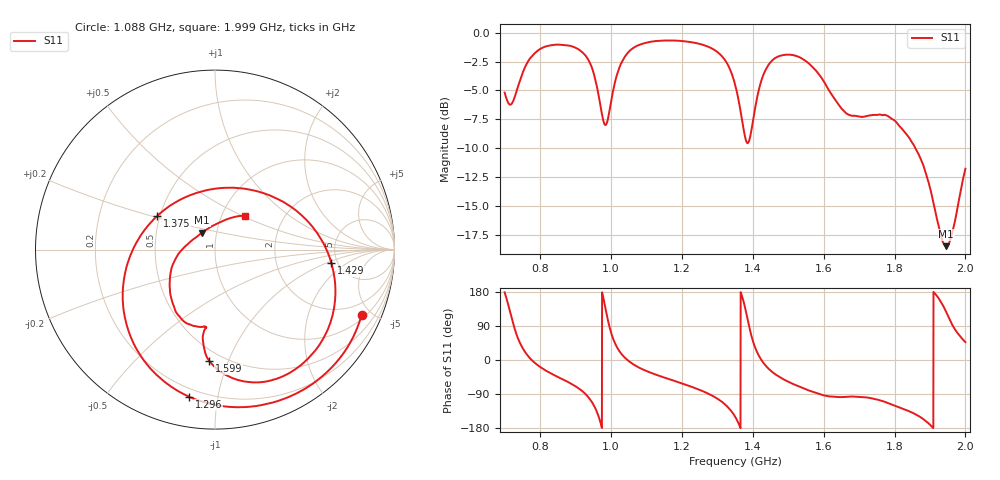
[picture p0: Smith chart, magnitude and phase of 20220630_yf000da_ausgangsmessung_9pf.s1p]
!Keysight Technologies,P9371A,MY57212015,A.15.65.19
!Date: Friday, July 01, 2022 14:54:25
!Correction: S11(C  1-Port  )
!S1P File: Measurement: S11:
# Hz S  dB  R 50
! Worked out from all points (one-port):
!   2601 points, 700 MHz to 2 GHz, reference 50 ohm
!   lowest |S11| = -18.5 dB at 1.946 GHz (marker M1), VSWR 1.27, Z = 42.6 + j8.16 ohm
!   |S11| at or under -10 dB: 1.859 GHz to end of sweep
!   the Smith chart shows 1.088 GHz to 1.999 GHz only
!   S11 on the Smith chart (normalised r, x): 1.088 GHz: 1.21, -4.38; 1.296 GHz: 0.16, -0.83; 1.375 GHz: 0.48, +0.21; 1.429 GHz: 4.44, -1.18; 1.599 GHz: 0.42, -0.86; 1.999 GHz: 1.29, +0.52
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7e8  -5.19 178.6
7.29e8  -5.53 80.4
7.475e8  -3.76 37.1
7.67e8  -2.45 9.6
8.045e8  -1.34 -21.1
8.625e8  -1.06 -50.4
9.315e8  -2.13 -93.0
9.505e8  -3.44 -117.7
9.69e8  -6.09 -160.2
9.815e8  -7.91 150.7
9.96e8  -6.77 87.2
1.025e9  -2.93 21.8
1.0505e9  -1.65 -3.1
1.088e9  -0.97 -24.0
1.1875e9  -0.70 -57.7
1.2965e9  -1.59 -99.9
1.35e9  -4.47 -149.0
1.3755e9  -8.59 149.5
1.398e9  -8.16 58.1
1.4295e9  -3.70 -6.7
1.467e9  -2.14 -39.9
1.5125e9  -1.94 -62.6
1.5985e9  -4.12 -92.8
1.675e9  -7.16 -96.6
1.8375e9  -8.94 -133.7
1.9455e9  -18.50 127.3
1.999e9  -11.93 48.1
2e9  -11.79 47.2
